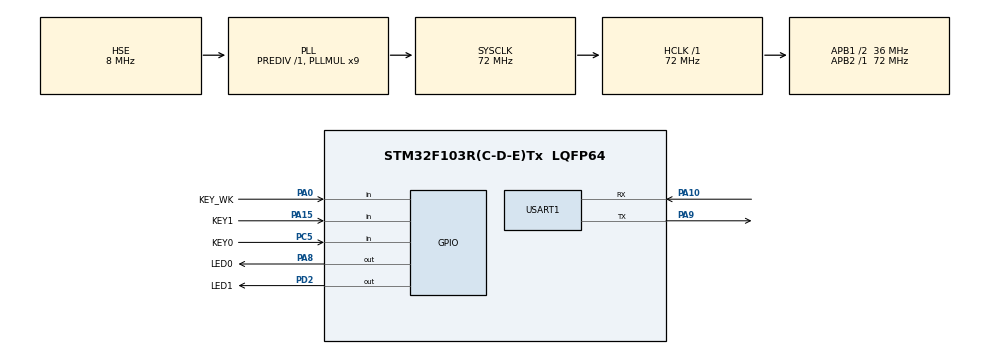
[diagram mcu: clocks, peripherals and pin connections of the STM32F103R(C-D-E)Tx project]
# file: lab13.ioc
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Mcu.Family=STM32F1
Mcu.Name=STM32F103R(C-D-E)Tx
Mcu.Package=LQFP64
NVIC.PriorityGroup=NVIC_PRIORITYGROUP_4
NVIC.USART1_IRQn=true\:0\:0\:false\:false\:true\:true\:true
PA0-WKUP.GPIO_Label=KEY_WK
PA0-WKUP.GPIO_Mode=GPIO_MODE_INPUT
PA0-WKUP.GPIO_PuPd=GPIO_PULLDOWN
PA0-WKUP.Signal=GPIO_Input
PA10.Mode=Asynchronous
PA10.Signal=USART1_RX
PA15.GPIO_Label=KEY1
PA15.GPIO_PuPd=GPIO_PULLUP
PA15.Signal=GPIO_Input
PA8.GPIO_Label=LED0
PA8.GPIO_PuPd=GPIO_PULLUP
PA8.GPIO_Speed=GPIO_SPEED_FREQ_HIGH
PA8.PinState=GPIO_PIN_SET
PA8.Signal=GPIO_Output
PA9.Mode=Asynchronous
PA9.Signal=USART1_TX
PC5.GPIO_Label=KEY0
PC5.GPIO_PuPd=GPIO_PULLUP
PC5.Signal=GPIO_Input
PD0-OSC_IN.Mode=HSE-External-Oscillator
PD0-OSC_IN.Signal=RCC_OSC_IN
PD1-OSC_OUT.Mode=HSE-External-Oscillator
PD1-OSC_OUT.Signal=RCC_OSC_OUT
PD2.GPIO_Label=LED1
PD2.GPIO_PuPd=GPIO_PULLUP
PD2.GPIO_Speed=GPIO_SPEED_FREQ_HIGH
PD2.PinState=GPIO_PIN_SET
PD2.Signal=GPIO_Output
ProjectManager.HeapSize=0x200
ProjectManager.StackSize=0x400
ProjectManager.TargetToolchain=STM32CubeIDE
RCC.AHBFreq_Value=72000000
RCC.APB1CLKDivider=RCC_HCLK_DIV2
RCC.APB1Freq_Value=36000000
RCC.APB1TimFreq_Value=72000000
RCC.APB2Freq_Value=72000000
RCC.APB2TimFreq_Value=72000000
RCC.HCLKFreq_Value=72000000
RCC.PLLMUL=RCC_PLL_MUL9
RCC.PLLSourceVirtual=RCC_PLLSOURCE_HSE
RCC.SYSCLKFreq_VALUE=72000000
RCC.SYSCLKSource=RCC_SYSCLKSOURCE_PLLCLK
RCC.USBFreq_Value=72000000
USART1.VirtualMode=VM_ASYNC
VP_SYS_VS_ND.Mode=No_Debug
board=custom

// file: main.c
/* USER CODE BEGIN Header */
/**
  ******************************************************************************
  * @file           : main.c
  * @brief          : Main program body
  ******************************************************************************
  * @attention
  *
  * <h2><center>&copy; Copyright (c) 2019 STMicroelectronics.
  * All rights reserved.</center></h2>
  *
  * This software component is licensed by ST under BSD 3-Clause license,
  * the "License"; You may not use this file except in compliance with the
  * License. You may obtain a copy of the License at:
  *                        opensource.org/licenses/BSD-3-Clause
  *
  ******************************************************************************
  */
/* USER CODE END Header */

#include "main.h"
#include <stdio.h>
#include <stdlib.h>
/* USER CODE BEGIN Includes */
#include "lcd.h"
/* USER CODE END Includes */

UART_HandleTypeDef huart1;

void SystemClock_Config(void);
static void MX_GPIO_Init(void);
static void MX_USART1_UART_Init(void);
/* USER CODE BEGIN PFP */
_Bool GetPress(GPIO_TypeDef *GPIOx, uint16_t GPIO_Pin, GPIO_PinState PinState);
void draw_model_1(int lor);
void draw_model_2(int lor);
void draw_model_3(int lor);
void draw_model_4(int lor);
void draw_model_5(int lor);
void draw_model_6(int lor);
void draw_model_7(int lor);
int judge(int x_1, int y_1, int x_2, int y_2);
static void showStatus(int levelNum, int scoreNum, int next_shape1, int next_shape2);
void fill_record(int x_1, int y_1, int x_2, int y_2, int color);
void draw(int shape, int  lor);

/* USER CODE END PFP */

int xoffset = 0;
int if_bottom = 0;
int arrays[16][10];
int temp_arr[16][10];
int rotation = 0;
int drop = 0;
int speed = 2;
int count_row = 0;
int main(void)
{

    /* MCU Configuration--------------------------------------------------------*/

    /* Reset of all peripherals, Initializes the Flash interface and the Systick. */
    HAL_Init();

    /* Configure the system clock */
    SystemClock_Config();

    /* USER CODE BEGIN SysInit */
    LCD_Init();
    /* USER CODE END SysInit */

    /* Initialize all configured peripherals */
    MX_GPIO_Init();
    MX_USART1_UART_Init();
    /* USER CODE BEGIN 2 */
    //  uint32_t y1 = 0;
    //  uint32_t y2 = 20;
    int initial = rand()% 7;
    int next_shape1 = rand()% 7;
    int next_shape2 = rand()% 7;
    int levelNum = 1;
    int scoreNum = 0;

    //  char yy[10];
    /* USER CODE END 2 */

    /* Infinite loop */
    /* USER CODE BEGIN WHILE */
    LCD_ShowString(205, 20, 30, 15, 12, "Next");
    LCD_ShowString(205, 180, 30, 15, 12, "Level");
    LCD_ShowString(205, 250, 30, 15, 12, "Score");
    LCD_Fill(201, 0, 203, 320, GRAY);
    char buffer[10];
    int count_model = 0;
    while (1)
    {
        int lor = 0;
        /* USER CODE END WHILE */
        /* USER CODE BEGIN 3 */

        BACK_COLOR = WHITE;

        // draw the status label
        scoreNum = count_row*3 + count_model;

        // 1 to 2
        if (scoreNum > 20 && levelNum == 1) {
        	speed = 4;
        	levelNum = 2;
        }

        // 2 to 3
        if (scoreNum > 50 && levelNum == 2) {
        	speed = 10;
        	levelNum = 3;
        }

        // hell
        if (scoreNum > 100 && levelNum == 3) {
        	speed = 10;
        	levelNum = 3;
        }
        showStatus(levelNum, scoreNum, next_shape1, next_shape2);

        draw( initial, lor);

        // right
        if (GetPress(KEY0_GPIO_Port, KEY0_Pin, GPIO_PIN_RESET) == 1)
        {
            HAL_GPIO_TogglePin(LED0_GPIO_Port, LED0_Pin);
            //RIGHT
            lor = 1;
            draw( initial, lor);
        }
        // rotate
        if (GetPress(KEY1_GPIO_Port, KEY1_Pin, GPIO_PIN_RESET) == 1)
        {
            HAL_GPIO_TogglePin(LED1_GPIO_Port, LED1_Pin);
            //left
            lor = 2;
            rotation += 1;
            draw( initial, lor);
        }

        // left
        if (GetPress(KEY_WK_GPIO_Port, KEY_WK_Pin, GPIO_PIN_SET) == 1)
        {
            HAL_GPIO_TogglePin(LED0_GPIO_Port, LED0_Pin);
            HAL_GPIO_TogglePin(LED1_GPIO_Port, LED1_Pin);
            lor = -1;
            draw( initial, lor);
        }

        HAL_Delay(40);

        // down
        if (if_bottom == 0)
        {
        	lor = 0;
        }

        // reach the bottom
        else
        {
        	if(check_over() == 0){
                check_array();
                draw_again();
                //到底之后，出现下一块
                if_bottom = 0;
                drop = 0;
                rotation = 0;
                xoffset = 0;
                count_model += 1;

                // randomly generate next shape
                initial = next_shape1;
                next_shape1 = next_shape2;
                next_shape2 = rand()% 7;
        	}else{
        		POINT_COLOR = RED;
        		LCD_ShowString(100, 160, 50, 40, 24, "Game over!!!!!!!!");
        		break;
        	}
            //到底之后，先遍历二维数组

        }
        /* USER CODE END 3 */
    }
}
int check_over(){
	for(int i = 0 ; i < 10 ; i++){
		if(arrays[0][i] != 0){
			return 1;
		}
	}
	return 0;
}
void draw_again(){
	for ( int i = 0 ;  i < 16 ; i++){
		for( int j = 0 ; j < 10 ; j++){
			int x1 = j * 20;
			int y1 = i *20;
			int x2 = j * 20  + 20;
			int y2 =  i *20 + 20;
			switch(arrays[i][j]){
				case 0 :
					LCD_Fill(x1 , y1 ,x2 ,y2 , WHITE);
					break;
				case 1 :
					LCD_Fill(x1 , y1 ,x2 ,y2 , YELLOW);
					break;

				case 2 :
					LCD_Fill(x1 , y1 ,x2 ,y2 , BLUE);
					break;

				case 3 :
					LCD_Fill(x1 , y1 ,x2 ,y2 , GREEN);
					break;

				case 4 :
					LCD_Fill(x1 , y1 ,x2 ,y2 , RED);
					break;

				case 5:
					LCD_Fill(x1 , y1 ,x2 ,y2 , CYAN);
					break;

				case 6 :
					LCD_Fill(x1 , y1 ,x2 ,y2 ,MAGENTA);
					break;

				case 7:
					LCD_Fill(x1 , y1 ,x2 ,y2 ,LIGHTBLUE);
					break;
			}
		}
	}
}

void draw(int shape, int  lor) {
	switch(shape) {
		case 0:
			draw_model_1(lor);
			break;
		case 1:
			draw_model_2(lor);
			break;
		case 2:
			draw_model_3(lor);
			break;
		case 3:
			draw_model_4(lor);
			break;
		case 4:
			draw_model_5(lor);
			break;
		case 5:
			draw_model_6(lor);
			break;
		case 6:
			draw_model_7(lor);
			break;
	}
}
int judge(int x_1, int y_1, int x_2, int y_2)
{
    if (x_2 > 200 || x_1 < 0 || y_1 < 0 || y_2 > 320)
    {
        return 0;
    }
    int x1 = x_1 / 20;
    int y1 = y_1 / 20;
    int x2 = x_2 / 20;
    int y2 = y_2 / 20;

    //如果刚好在在方格里
    if (y_2 % 20 == 0)
    {
        int i = 0;
        int j = 0;
        int f1 = 1;
        int f2 = 1;
        for (j = x1; j < x2; j++)
        {
            for (i = y1; i < y2; i++)
            {
                if (arrays[i][j] > 0)
                {
                    f1 = 0;
                }
            }
        }
        for (int i = x1; i < x2; i++)
        {
            if (arrays[i][y2] > 0)
            {
                f2 = 0;
            }
        }
        if (f1 == 1 && f2 == 1)
        {
            return 1;
        }
    }

    //如果不在在方格里
    else
    {
        int i = 0;
        int j = 0;

        y2 = y2 + 1;
        for (j = x1; j < x2; j++)
        {
            for (i = y1; i < y2; i++)
            {
                if (arrays[i][j] > 0)
                {
                    return 0;
                }
            }
        }
    }

    return 1;
}
void check_array(void)
{
    int i = 0;
    int j = 0;
    int temp_row = -1;

    for (i = 0; i < 16; i++)
    {
        int if_full = 1;
        for (j = 0; j < 10; j++)
        {

            if (arrays[i][j] == 0)
            {
                //  printf("%d\t",17);
                if_full = 0;
                break;
            }
        }
        if (if_full == 0)
        {
            //printf("%d\t",18);
            continue;
        }
        else
        {
        	count_row += 1;
            temp_row = i;
            printf("temp_row: %d\t", temp_row);

            int k = 0;
            int o = 0;
            for (k = 0; k < 16; k++)
            {
                for (o = 0; o < 10; o++)
                {
                    if (k <= temp_row)
                    {
                        if (k >= 1)
                        {
                            temp_arr[k][o] = arrays[k - 1][o];
                        }
                    }
                    else
                    {
                        temp_arr[k][o] = arrays[k][o];
                    }
                }
            }
            printf("test: %d\t", temp_arr[0][0]);
            k = 0;
            o = 0;
            for (k = 0; k < 16; k++)
            {
                for (o = 0; o < 10; o++)
                {
                    arrays[k][o] = temp_arr[k][o];
                }
            }
            //	 printArrays();
            // printf("\n");
            check_array();
        }
    }
    return 0;
}
void SystemClock_Config(void)
{
    RCC_OscInitTypeDef RCC_OscInitStruct = {0};
    RCC_ClkInitTypeDef RCC_ClkInitStruct = {0};

    /** Initializes the CPU, AHB and APB busses clocks
  */
    RCC_OscInitStruct.OscillatorType = RCC_OSCILLATORTYPE_HSE;
    RCC_OscInitStruct.HSEState = RCC_HSE_ON;
    RCC_OscInitStruct.HSEPredivValue = RCC_HSE_PREDIV_DIV1;
    RCC_OscInitStruct.HSIState = RCC_HSI_ON;
    RCC_OscInitStruct.PLL.PLLState = RCC_PLL_ON;
    RCC_OscInitStruct.PLL.PLLSource = RCC_PLLSOURCE_HSE;
    RCC_OscInitStruct.PLL.PLLMUL = RCC_PLL_MUL9;
    if (HAL_RCC_OscConfig(&RCC_OscInitStruct) != HAL_OK)
    {
        Error_Handler();
    }
    /** Initializes the CPU, AHB and APB busses clocks
  */
    RCC_ClkInitStruct.ClockType = RCC_CLOCKTYPE_HCLK | RCC_CLOCKTYPE_SYSCLK | RCC_CLOCKTYPE_PCLK1 | RCC_CLOCKTYPE_PCLK2;
    RCC_ClkInitStruct.SYSCLKSource = RCC_SYSCLKSOURCE_PLLCLK;
    RCC_ClkInitStruct.AHBCLKDivider = RCC_SYSCLK_DIV1;
    RCC_ClkInitStruct.APB1CLKDivider = RCC_HCLK_DIV2;
    RCC_ClkInitStruct.APB2CLKDivider = RCC_HCLK_DIV1;

    if (HAL_RCC_ClockConfig(&RCC_ClkInitStruct, FLASH_LATENCY_2) != HAL_OK)
    {
        Error_Handler();
    }
}

static void MX_USART1_UART_Init(void)
{

    huart1.Instance = USART1;
    huart1.Init.BaudRate = 115200;
    huart1.Init.WordLength = UART_WORDLENGTH_8B;
    huart1.Init.StopBits = UART_STOPBITS_1;
    huart1.Init.Parity = UART_PARITY_NONE;
    huart1.Init.Mode = UART_MODE_TX_RX;
    huart1.Init.HwFlowCtl = UART_HWCONTROL_NONE;
    huart1.Init.OverSampling = UART_OVERSAMPLING_16;
    if (HAL_UART_Init(&huart1) != HAL_OK)
    {
        Error_Handler();
    }
}

static void MX_GPIO_Init(void)
{
    GPIO_InitTypeDef GPIO_InitStruct = {0};

    /* GPIO Ports Clock Enable */
    __HAL_RCC_GPIOD_CLK_ENABLE();
    __HAL_RCC_GPIOA_CLK_ENABLE();
    __HAL_RCC_GPIOC_CLK_ENABLE();

    /*Configure GPIO pin Output Level */
    HAL_GPIO_WritePin(LED0_GPIO_Port, LED0_Pin, GPIO_PIN_SET);

    /*Configure GPIO pin Output Level */
    HAL_GPIO_WritePin(LED1_GPIO_Port, LED1_Pin, GPIO_PIN_SET);

    /*Configure GPIO pin : KEY_WK_Pin */
    GPIO_InitStruct.Pin = KEY_WK_Pin;
    GPIO_InitStruct.Mode = GPIO_MODE_INPUT;
    GPIO_InitStruct.Pull = GPIO_PULLDOWN;
    HAL_GPIO_Init(KEY_WK_GPIO_Port, &GPIO_InitStruct);

    /*Configure GPIO pin : KEY0_Pin */
    GPIO_InitStruct.Pin = KEY0_Pin;
    GPIO_InitStruct.Mode = GPIO_MODE_INPUT;
    GPIO_InitStruct.Pull = GPIO_PULLUP;
    HAL_GPIO_Init(KEY0_GPIO_Port, &GPIO_InitStruct);

    /*Configure GPIO pin : LED0_Pin */
    GPIO_InitStruct.Pin = LED0_Pin;
    GPIO_InitStruct.Mode = GPIO_MODE_OUTPUT_PP;
    GPIO_InitStruct.Pull = GPIO_PULLUP;
    GPIO_InitStruct.Speed = GPIO_SPEED_FREQ_HIGH;
    HAL_GPIO_Init(LED0_GPIO_Port, &GPIO_InitStruct);

    /*Configure GPIO pin : KEY1_Pin */
    GPIO_InitStruct.Pin = KEY1_Pin;
    GPIO_InitStruct.Mode = GPIO_MODE_INPUT;
    GPIO_InitStruct.Pull = GPIO_PULLUP;
    HAL_GPIO_Init(KEY1_GPIO_Port, &GPIO_InitStruct);

    /*Configure GPIO pin : LED1_Pin */
    GPIO_InitStruct.Pin = LED1_Pin;
    GPIO_InitStruct.Mode = GPIO_MODE_OUTPUT_PP;
    GPIO_InitStruct.Pull = GPIO_PULLUP;
    GPIO_InitStruct.Speed = GPIO_SPEED_FREQ_HIGH;
    HAL_GPIO_Init(LED1_GPIO_Port, &GPIO_InitStruct);
}

/* USER CODE BEGIN 4 */
static void showStatus(int levelNum, int scoreNum, int next_shape1, int next_shape2)
{

    char levelMsg[5];
    char scoreMsg[5];
    //char shapeLable[5] = "Next";
    // char levelLable[6] = "Level";
    //  char scoreLable[6] = "Score";
    // draw the status bar

    // draw the strings in the status bar

    // draw the number of levels and scores
    sprintf(levelMsg, "%d", levelNum);
    sprintf(scoreMsg, "%d", scoreNum);
    LCD_ShowString(205, 210, 15, 15, 12, levelMsg);
    LCD_ShowString(205, 280, 15, 15, 12, scoreMsg);
    LCD_Fill(204,70,240,160,WHITE);
    switch (next_shape1)
    {
    /*
  ... ... ... ...
  ... ... ... ...

  */
    case 0:
        LCD_Fill(205, 75, 235, 85, YELLOW);
        break;

    /*
  ... ...
  ... ...
  ... ...
  ... ...

  */
    case 1:
        LCD_Fill(210, 70, 230, 90,BLUE );
        break;

    /*
  ... ...
  ... ...
      ... ...
      ... ...

  */
    case 2:
        LCD_Fill(205, 70, 225, 80, GREEN);
        LCD_Fill(215, 80, 235, 90, GREEN);
        break;

    /*
      ... ...
      ... ...
  ... ...
  ... ...

  */
    case 3:
        LCD_Fill(215, 70, 235, 80, RED);
        LCD_Fill(205, 80, 225, 90, RED);
        break;

    /*
  ...
  ...
  ... ... ...
  ... ... ...

  */
    case 4:
        LCD_Fill(205, 70, 215, 80, CYAN);
        LCD_Fill(205, 80, 235, 90, CYAN);
        break;

    /*
          ...
          ...
  ... ... ...
  ... ... ...

  */
    case 5:
        LCD_Fill(225, 70, 235, 80, MAGENTA);
        LCD_Fill(205, 80, 235, 90, MAGENTA);
        break;

    /*
      ...
      ...
  ... ... ...
  ... ... ...

  */
    case 6:
        LCD_Fill(205+10, 70, 215+10, 80, LIGHTBLUE);
        LCD_Fill(195+10, 80, 225+10, 90, LIGHTBLUE);
        break;
    }

    // draw the shapes of the coming nodes 2 center:(220, 120)
    int distance = 40;
    switch (next_shape2)
    {
    /*
  ... ... ... ...
  ... ... ... ...

  */
    case 0:
        LCD_Fill(205, 75 + distance, 235, 85 + distance, YELLOW);
        break;

    /*
  ... ...
  ... ...
  ... ...
  ... ...

  */
    case 1:
        LCD_Fill(210, 70 + distance, 230, 90 + distance,BLUE);
        break;

    /*
  ... ...
  ... ...
      ... ...
      ... ...

  */
    case 2:
        LCD_Fill(205, 70 + distance, 225, 80 + distance, GREEN);
        LCD_Fill(215, 80 + distance, 235, 90 + distance, GREEN);
        break;

    /*
      ... ...
      ... ...
  ... ...
  ... ...

  */
    case 3:
        LCD_Fill(215, 70 + distance, 235, 80 + distance, RED);
        LCD_Fill(205, 80 + distance, 225, 90 + distance, RED);
        break;

    /*
  ...
  ...
  ... ... ...
  ... ... ...

  */
    case 4:
        LCD_Fill(205, 70 + distance, 215, 80 + distance,CYAN);
        LCD_Fill(205, 80 + distance, 235, 90 + distance, CYAN);
        break;

    /*
          ...
          ...
  ... ... ...
  ... ... ...

  */
    case 5:
        LCD_Fill(225, 70 + distance, 235, 80 + distance, MAGENTA);
        LCD_Fill(205, 80 + distance, 235, 90 + distance, MAGENTA);
        break;

    /*
      ...
      ...
  ... ... ...
  ... ... ...

  */
    case 6:
        LCD_Fill(205+10, 70 + distance, 215+10, 80 + distance, LIGHTBLUE);
        LCD_Fill(195+10, 80 + distance, 225+10, 90 + distance, LIGHTBLUE);
        break;
    }
}

_Bool GetPress(GPIO_TypeDef *GPIOx, uint16_t GPIO_Pin, GPIO_PinState PinState)
{
    if (HAL_GPIO_ReadPin(GPIOx, GPIO_Pin) == PinState)
    {
        HAL_Delay(10);
        if (HAL_GPIO_ReadPin(GPIOx, GPIO_Pin) == PinState)
        {
            while (HAL_GPIO_ReadPin(GPIOx, GPIO_Pin) == PinState)
            {
                ;
            }
            return 1;
        }
        else
            return 0;
    }
    else
        return 0;
}

///// SEVEN MODES
void draw_model_1(int lor)
{

    int x1 = 0;
    int y1 = 0;
    int x2 = 0;
    int y2 = 0;

    // last state
    if (rotation % 2 == 0)
    {
        x1 = 60 + xoffset;
        y1 = 0 + drop;
        x2 = 140 + xoffset;
        y2 = 20 + drop;
    }
    else
    {
        x1 = 100 + xoffset;
        y1 = 0 + drop;
        x2 = 120 + xoffset;
        y2 = 80 + drop;
    }

    // erase the previous state

    // judge the next state

    // judge left
    if (lor == -1) {
		if(judge(x1-20, y1, x2-20, y2) == 1) {
			xoffset -= 20;
		}else{

		}
    }
    // judge right
     if (lor == 1) {
		if(judge(x1+20, y1, x2+20, y2) == 1) {
			xoffset += 20;
		}else{

		}
    }
    // judge drop
    if (lor == 0) {
    	// if next state is legal
    	if (judge(x1, y1+speed, x2, y2+speed) == 1) {
    		drop += speed;
    	// if next state is illegal
    	}else{

    		if_bottom = 1;
    		fill_record(x1, y1, x2, y2,1);
    	//	LCD_Fill(x1,y1,x2,y2,YELLOW);
    	//	return ;
    	}
    }
   // judge rotate
    if (lor == 2) {
    	//LCD_Fill(x1, y1-speed, x2, y2-speed, WHITE);

    	int last = rotation - 1;

    	if (last % 2 == 0)
    	{
    		LCD_Fill(60 + xoffset, 0 + drop, 140 + xoffset, 20 + drop, WHITE);
    	}

    	else
    	{
    		LCD_Fill(100 + xoffset, 0 + drop, 120 + xoffset, 80 + drop, WHITE);
    	}

    	if (judge(x1,y1,x2,y2) == 0) {
    		rotation -= 1;
    	}
    }

   // update the next state
	if (rotation % 2 == 0)
	  {
		  x1 = 60 + xoffset;
		  y1 = 0 + drop;
		  x2 = 140 + xoffset;
		  y2 = 20 + drop;
		 }
	 else
	 {
		  x1 = 100 + xoffset;
		  y1 = 0 + drop;
		  x2 = 120 + xoffset;
		  y2 = 80 + drop;
	 }

	// draw the block
	if (if_bottom == 0) {
		if ( lor == -1 && judge(x1, y1, x2, y2) == 1) {
			LCD_Fill(x1+20, y1, x2+20, y2, WHITE);
		} else
		if (lor == 1 && judge(x1, y1, x2, y2) == 1) {
			LCD_Fill(x1-20, y1, x2-20, y2, WHITE);
		}else if (lor == 0) {
			LCD_Fill(x1, y1-speed, x2, y2-speed, WHITE);
		}

		LCD_Fill(x1, y1, x2, y2, YELLOW);
	}
}
void draw_model_2(int lor)
{

    int x1 = 0;
    int y1 = 0;
    int x2 = 0;
    int y2 = 0;

    // last state
    if (rotation % 2 == 0)
    {
    	 x1 = 80 + xoffset;
		y1 = 0 + drop;
		x2 = 120 + xoffset;
		y2 = 40 + drop;
    }
    else
    {
        x1 = 80 + xoffset;
        y1 = 0 + drop;
        x2 = 120 + xoffset;
        y2 = 40 + drop;
    }

    // erase the previous state

    // judge the next state

    // judge left
    if (lor == -1) {
		if(judge(x1-20, y1, x2-20, y2) == 1) {
			xoffset -= 20;
		}else{

		}
    }
    // judge right
     if (lor == 1) {
		if(judge(x1+20, y1, x2+20, y2) == 1) {
			xoffset += 20;
		}else{

		}
    }
    // judge drop
    if (lor == 0) {
    	// if next state is legal
    	if (judge(x1, y1+speed, x2, y2+speed) == 1) {
    		drop += speed;
    	// if next state is illegal
    	}else{

    		if_bottom = 1;
    		fill_record(x1, y1, x2, y2,2);
    	//	LCD_Fill(x1,y1,x2,y2,YELLOW);
    	//	return ;
    	}
    }
   // judge rotate
    if (lor == 2) {
    	//LCD_Fill(x1, y1-speed, x2, y2-speed, WHITE);

    	int last = rotation - 1;

    	if (last % 2 == 0)
    	{
    		LCD_Fill(60 + xoffset, 20 + drop, 140 + xoffset, 40 + drop, WHITE);
    	}

    	else
    	{
    		LCD_Fill(100 + xoffset, 0 + drop, 120 + xoffset, 80 + drop, WHITE);
    	}

    	if (judge(x1,y1,x2,y2) == 0) {
    		rotation -= 1;
    	}
    }

   // update the next state
	if (rotation % 2 == 0)
	  {
		 x1 = 80 + xoffset;
		        y1 = 0 + drop;
		        x2 = 120 + xoffset;
		        y2 = 40 + drop;
		 }
	 else
	 {
		 x1 = 80 + xoffset;
		        y1 = 0 + drop;
		        x2 = 120 + xoffset;
		        y2 = 40 + drop;
	 }

	// draw the block
	if (if_bottom == 0) {
		if ( lor == -1 && judge(x1, y1, x2, y2) == 1) {
			LCD_Fill(x1+20, y1, x2+20, y2, WHITE);
		} else
		if (lor == 1 && judge(x1, y1, x2, y2) == 1) {
			LCD_Fill(x1-20, y1, x2-20, y2, WHITE);
		}else if (lor == 0) {
			LCD_Fill(x1, y1-speed, x2, y2-speed, WHITE);
		}

		LCD_Fill(x1, y1, x2, y2, BLUE);
	}
}
void draw_model_3(int lor)
{

    int x1 = 0;
    int y1 = 0;
    int x2 = 0;
    int y2 = 0;
    int x3 = 0;
    int y3 = 0;
    int x4 = 0;
    int y4 = 0;
    // last state
    if (rotation % 2 == 0)
    {
        x1 = 80 + xoffset;
        y1 = 0 + drop;
        x2 = 120 + xoffset;
        y2 = 20 + drop;
        x3 = 100 + xoffset;
		y3 = 20 + drop;
		x4 = 140 + xoffset;
		y4 = 40 + drop;
    }
    else
    {
        x1 = 100 + xoffset;
        y1 = 20 + drop;
        x2 = 120 + xoffset;
        y2 = 60 + drop;
        x3 = 120 + xoffset;
		y3 = 0 + drop;
		x4 = 140 + xoffset;
		y4 = 40 + drop;
    }

    // erase the previous state

    // judge the next state

    // judge left
    if (lor == -1) {
		if(judge(x1-20, y1, x2-20, y2) == 1 && judge(x3-20, y3, x4-20, y4) == 1) {
			xoffset -= 20;
		}else{

		}
    }
    // judge right
     if (lor == 1) {
		if(judge(x1+20, y1, x2+20, y2) == 1 && judge(x3+20, y3, x4 +20, y4) == 1) {
			xoffset += 20;
		}else{

		}
    }
    // judge drop
    if (lor == 0) {
    	// if next state is legal
    	if (judge(x1, y1+speed, x2, y2+speed) == 1 && judge(x3, y3+speed, x4, y4+speed) == 1) {
    		drop += speed;
    	// if next state is illegal
    	}else{

    		if_bottom = 1;
    		fill_record(x1, y1, x2, y2,3);
    		fill_record(x3, y3, x4, y4,3);
    	//	LCD_Fill(x1,y1,x2,y2,YELLOW);
    	//	return ;
    	}
    }
   // judge rotate
    if (lor == 2) {
    	//LCD_Fill(x1, y1-speed, x2, y2-speed, WHITE);

    	int last = rotation - 1;

    	if (last % 2 == 0)
    	{
    		LCD_Fill(80 + xoffset, 0 + drop, 120 + xoffset, 20 + drop, WHITE);
    		LCD_Fill(100 + xoffset, 20 + drop, 140 + xoffset, 40 + drop, WHITE);
    	}

    	else
    	{
    		LCD_Fill(100 + xoffset, 20 + drop, 120 + xoffset, 60 + drop, WHITE);
    		LCD_Fill(120 + xoffset, 0 + drop, 140 + xoffset, 40 + drop, WHITE);
    	}

    	if (judge(x1,y1,x2,y2) == 0 || judge(x3,y3,x4,y4) == 0 ) {
    		rotation -= 1;
    	}
    }

   // update the next state
    if (rotation % 2 == 0)
    {
        x1 = 80 + xoffset;
        y1 = 0 + drop;
        x2 = 120 + xoffset;
        y2 = 20 + drop;
        x3 = 100 + xoffset;
		y3 = 20 + drop;
		x4 = 140 + xoffset;
		y4 = 40 + drop;
    }
    else
    {
        x1 = 100 + xoffset;
        y1 = 20 + drop;
        x2 = 120 + xoffset;
        y2 = 60 + drop;
        x3 = 120 + xoffset;
		y3 = 0 + drop;
		x4 = 140 + xoffset;
		y4 = 40 + drop;
    }

	// draw the block
	if (if_bottom == 0) {
		if ( lor == -1 && judge(x1,y1,x2,y2) == 1 && judge(x3,y3,x4,y4) == 1 ) {
			LCD_Fill(x1+20, y1, x2+20, y2, WHITE);
			LCD_Fill(x3+20, y3, x4+20, y4, WHITE);
		} else
		if (lor == 1 && judge(x1,y1,x2,y2) == 1 && judge(x3,y3,x4,y4) == 1) {
			LCD_Fill(x1-20, y1, x2-20, y2, WHITE);
			LCD_Fill(x3-20, y3, x4-20, y4, WHITE);
		}else if (lor == 0) {
			LCD_Fill(x1, y1-speed, x2, y2-speed, WHITE);
			LCD_Fill(x3, y3-speed, x4, y4-speed, WHITE);
		}

		LCD_Fill(x1, y1, x2, y2, GREEN);
		LCD_Fill(x3, y3, x4, y4, GREEN);
	}
}

void draw_model_4(int lor)
{

    int x1 = 0;
    int y1 = 0;
    int x2 = 0;
    int y2 = 0;
    int x3 = 0;
    int y3 = 0;
    int x4 = 0;
    int y4 = 0;
    // last state
    if (rotation % 2 == 0)
    {
        x1 = 100 + xoffset;
        y1 = 0 + drop;
        x2 = 140 + xoffset;
        y2 = 20 + drop;
        x3 = 80 + xoffset;
		y3 = 20 + drop;
		x4 = 120 + xoffset;
		y4 = 40 + drop;
    }
    else
    {
        x1 = 80 + xoffset;
        y1 = 0 + drop;
        x2 = 100 + xoffset;
        y2 = 40 + drop;
        x3 = 100 + xoffset;
		y3 = 20 + drop;
		x4 = 120 + xoffset;
		y4 = 60 + drop;
    }

    // erase the previous state

    // judge the next state

    // judge left
    if (lor == -1) {
		if(judge(x1-20, y1, x2-20, y2) == 1 && judge(x3-20, y3, x4-20, y4) == 1) {
			xoffset -= 20;
		}else{

		}
    }
    // judge right
     if (lor == 1) {
		if(judge(x1+20, y1, x2+20, y2) == 1 && judge(x3+20, y3, x4 +20, y4) == 1) {
			xoffset += 20;
		}else{

		}
    }
    // judge drop
    if (lor == 0) {
    	// if next state is legal
    	if (judge(x1, y1+speed, x2, y2+speed) == 1 && judge(x3, y3+speed, x4, y4+speed) == 1) {
    		drop += speed;
    	// if next state is illegal
    	}else{

    		if_bottom = 1;
    		fill_record(x1, y1, x2, y2,4);
    		fill_record(x3, y3, x4, y4,4);
    	//	LCD_Fill(x1,y1,x2,y2,YELLOW);
    	//	return ;
    	}
    }
   // judge rotate
    if (lor == 2) {
    	//LCD_Fill(x1, y1-speed, x2, y2-speed, WHITE);

    	int last = rotation - 1;

    	if (last % 2 == 0)
    	{
    		LCD_Fill(100 + xoffset, 0 + drop, 140 + xoffset, 20 + drop, WHITE);
    		LCD_Fill(80 + xoffset, 20 + drop, 120 + xoffset, 40 + drop, WHITE);
    	}

    	else
    	{
    		LCD_Fill(80 + xoffset, 0 + drop, 100 + xoffset, 40 + drop, WHITE);
    		LCD_Fill(100 + xoffset, 20 + drop, 120 + xoffset, 60 + drop, WHITE);
    	}

    	if (judge(x1,y1,x2,y2) == 0 || judge(x3,y3,x4,y4) == 0 ) {
    		rotation -= 1;
    	}
    }

   // update the next state
    if (rotation % 2 == 0)
    {
        x1 = 100 + xoffset;
        y1 = 0 + drop;
        x2 = 140 + xoffset;
        y2 = 20 + drop;
        x3 = 80 + xoffset;
		y3 = 20 + drop;
		x4 = 120 + xoffset;
		y4 = 40 + drop;
    }
    else
    {
        x1 = 80 + xoffset;
        y1 = 0 + drop;
        x2 = 100 + xoffset;
        y2 = 40 + drop;
        x3 = 100 + xoffset;
		y3 = 20 + drop;
		x4 = 120 + xoffset;
		y4 = 60 + drop;
    }
	// draw the block
	if (if_bottom == 0) {
		if ( lor == -1 && judge(x1,y1,x2,y2) == 1 && judge(x3,y3,x4,y4) == 1 ) {
			LCD_Fill(x1+20, y1, x2+20, y2, WHITE);
			LCD_Fill(x3+20, y3, x4+20, y4, WHITE);
		} else
		if (lor == 1 && judge(x1,y1,x2,y2) == 1 && judge(x3,y3,x4,y4) == 1) {
			LCD_Fill(x1-20, y1, x2-20, y2, WHITE);
			LCD_Fill(x3-20, y3, x4-20, y4, WHITE);
		}else if (lor == 0) {
			LCD_Fill(x1, y1-speed, x2, y2-speed, WHITE);
			LCD_Fill(x3, y3-speed, x4, y4-speed, WHITE);
		}

		LCD_Fill(x1, y1, x2, y2, RED);
		LCD_Fill(x3, y3, x4, y4, RED);
	}
}
void draw_model_5(int lor)
{

    int x1 = 0;
    int y1 = 0;
    int x2 = 0;
    int y2 = 0;
    int x3 = 0;
    int y3 = 0;
    int x4 = 0;
    int y4 = 0;
    // last state
    if (rotation % 4 == 0)
    {
        x1 = 80 + xoffset;
        y1 = 0 + drop;
        x2 = 100 + xoffset;
        y2 = 20 + drop;
        x3 = 80 + xoffset;
		y3 = 20 + drop;
		x4 = 140 + xoffset;
		y4 = 40 + drop;
    }
    else if(rotation % 4 == 1)
    {
        x1 = 100 + xoffset;
        y1 = 0 + drop;
        x2 = 120 + xoffset;
        y2 = 20 + drop;
        x3 = 80+ xoffset;
		y3 = 0 + drop;
		x4 = 100 + xoffset;
		y4 = 60 + drop;
    }
    else if(rotation % 4 == 2)
    {
        x1 = 80 + xoffset;
        y1 = 0 + drop;
        x2 = 140 + xoffset;
        y2 = 20 + drop;
        x3 = 120 + xoffset;
		y3 = 20 + drop;
		x4 = 140 + xoffset;
		y4 = 40 + drop;
    }
    else
    {
        x1 = 80 + xoffset;
        y1 = 40 + drop;
        x2 = 100 + xoffset;
        y2 = 60 + drop;
        x3 = 100 + xoffset;
		y3 = 0 + drop;
		x4 = 120 + xoffset;
		y4 = 60 + drop;
    }

    // erase the previous state

    // judge the next state

    // judge left
    if (lor == -1) {
		if(judge(x1-20, y1, x2-20, y2) == 1 && judge(x3-20, y3, x4-20, y4) == 1) {
			xoffset -= 20;
		}else{

		}
    }
    // judge right
     if (lor == 1) {
		if(judge(x1+20, y1, x2+20, y2) == 1 && judge(x3+20, y3, x4 +20, y4) == 1) {
			xoffset += 20;
		}else{

		}
    }
    // judge drop
    if (lor == 0) {
    	// if next state is legal
    	if (judge(x1, y1+speed, x2, y2+speed) == 1 && judge(x3, y3+speed, x4, y4+speed) == 1) {
    		drop += speed;
    	// if next state is illegal
    	}else{

    		if_bottom = 1;
    		fill_record(x1, y1, x2, y2,5);
    		fill_record(x3, y3, x4, y4,5);
    	//	LCD_Fill(x1,y1,x2,y2,YELLOW);
    	//	return ;
    	}
    }
   // judge rotate
    if (lor == 2) {
    	//LCD_Fill(x1, y1-speed, x2, y2-speed, WHITE);

    	int last = rotation - 1;

    	if (last % 4 == 0)
    	{
    		LCD_Fill(80 + xoffset, 0 + drop, 100 + xoffset, 20 + drop, WHITE);
    		LCD_Fill(80 + xoffset, 20 + drop, 140 + xoffset, 40 + drop, WHITE);
    	}

    	else if(last% 4 == 1)
    	{
    		LCD_Fill(100 + xoffset, 0 + drop, 120 + xoffset, 20 + drop, WHITE);
    		LCD_Fill(80 + xoffset, 0 + drop, 100 + xoffset, 60 + drop, WHITE);
    	}
    	else if(last% 4 == 2){
    		LCD_Fill(80 + xoffset, 0 + drop, 140 + xoffset, 20 + drop, WHITE);
    		LCD_Fill(120 + xoffset, 20 + drop, 140 + xoffset, 40 + drop, WHITE);
    	}
    	else{
    		LCD_Fill(80 + xoffset, 40 + drop, 100 + xoffset, 60 + drop, WHITE);
    		LCD_Fill(100 + xoffset, 0 + drop, 120 + xoffset, 60 + drop, WHITE);
    	}

    	if (judge(x1,y1,x2,y2) == 0 || judge(x3,y3,x4,y4) == 0 ) {
    		rotation -= 1;
    	}
    }

   // update the next state
    if (rotation % 4 == 0)
    {
        x1 = 80 + xoffset;
        y1 = 0 + drop;
        x2 = 100 + xoffset;
        y2 = 20 + drop;
        x3 = 80 + xoffset;
		y3 = 20 + drop;
		x4 = 140 + xoffset;
		y4 = 40 + drop;
    }
    else if(rotation % 4 == 1)
    {
        x1 = 100 + xoffset;
        y1 = 0 + drop;
        x2 = 120 + xoffset;
        y2 = 20 + drop;
        x3 = 80+ xoffset;
		y3 = 0 + drop;
		x4 = 100 + xoffset;
		y4 = 60 + drop;
    }
    else if(rotation % 4 == 2)
    {
        x1 = 80 + xoffset;
        y1 = 0 + drop;
        x2 = 140 + xoffset;
        y2 = 20 + drop;
        x3 = 120 + xoffset;
		y3 = 20 + drop;
		x4 = 140 + xoffset;
		y4 = 40 + drop;
    }
    else
    {
        x1 = 80 + xoffset;
        y1 = 40 + drop;
        x2 = 100 + xoffset;
        y2 = 60 + drop;
        x3 = 100 + xoffset;
		y3 = 0 + drop;
		x4 = 120 + xoffset;
		y4 = 60 + drop;
    }

	// draw the block
	if (if_bottom == 0) {
		if ( lor == -1 && judge(x1,y1,x2,y2) == 1 && judge(x3,y3,x4,y4) == 1 ) {
			LCD_Fill(x1+20, y1, x2+20, y2, WHITE);
			LCD_Fill(x3+20, y3, x4+20, y4, WHITE);
		} else
		if (lor == 1 && judge(x1,y1,x2,y2) == 1 && judge(x3,y3,x4,y4) == 1) {
			LCD_Fill(x1-20, y1, x2-20, y2, WHITE);
			LCD_Fill(x3-20, y3, x4-20, y4, WHITE);
		}else if (lor == 0) {
			LCD_Fill(x1, y1-speed, x2, y2-speed, WHITE);
			LCD_Fill(x3, y3-speed, x4, y4-speed, WHITE);
		}

		LCD_Fill(x1, y1, x2, y2, CYAN);
		LCD_Fill(x3, y3, x4, y4, CYAN);
	}
}

void draw_model_6(int lor)
{

    int x1 = 0;
    int y1 = 0;
    int x2 = 0;
    int y2 = 0;
    int x3 = 0;
    int y3 = 0;
    int x4 = 0;
    int y4 = 0;
    // last state
    if (rotation % 4 == 0)
    {
        x1 = 120 + xoffset;
        y1 = 0 + drop;
        x2 = 140 + xoffset;
        y2 = 20 + drop;
        x3 = 80 + xoffset;
        y3 = 20 + drop;
        x4 = 140 + xoffset;
        y4 = 40 + drop;
    }
    else if (rotation % 4 == 1)
    {

        x1 = 80 + xoffset;
        y1 = 0 + drop;
        x2 = 100 + xoffset;
        y2 = 60 + drop;
        x3 = 100 + xoffset;
        y3 = 40 + drop;
        x4 = 120 + xoffset;
        y4 = 60 + drop;
    }
    else if (rotation % 4 == 2)
    {

        x1 = 80 + xoffset;
        y1 = 0 + drop;
        x2 = 140 + xoffset;
        y2 = 20 + drop;
        x3 = 80 + xoffset;
        y3 = 20 + drop;
        x4 = 100 + xoffset;
        y4 = 40 + drop;
    }
    else if (rotation % 4 == 3)
    {

        x1 = 80 + xoffset;
        y1 = 0 + drop;
        x2 = 100 + xoffset;
        y2 = 20 + drop;
        x3 = 100 + xoffset;
        y3 = 0 + drop;
        x4 = 120 + xoffset;
        y4 = 60 + drop;
    }

    // erase the previous state

    // judge the next state

    // judge left
    if (lor == -1) {
		if(judge(x1-20, y1, x2-20, y2) == 1 && judge(x3-20, y3, x4-20, y4) == 1) {
			xoffset -= 20;
		}else{

		}
    }
    // judge right
     if (lor == 1) {
		if(judge(x1+20, y1, x2+20, y2) == 1 && judge(x3+20, y3, x4 +20, y4) == 1) {
			xoffset += 20;
		}else{

		}
    }
    // judge drop
    if (lor == 0) {
    	// if next state is legal
    	if (judge(x1, y1+speed, x2, y2+speed) == 1 && judge(x3, y3+speed, x4, y4+speed) == 1) {
    		drop += speed;
    	// if next state is illegal
    	}else{

    		if_bottom = 1;
    		fill_record(x1, y1, x2, y2,6);
    		fill_record(x3, y3, x4, y4,6);
    	//	LCD_Fill(x1,y1,x2,y2,YELLOW);
    	//	return ;
    	}
    }
   // judge rotate
    if (lor == 2) {
    	//LCD_Fill(x1, y1-speed, x2, y2-speed, WHITE);

    	int last = rotation - 1;

    	if (last % 4 == 0)
    	{
    		LCD_Fill(120 + xoffset, 0 + drop, 140 + xoffset, 20 + drop, WHITE);
    		LCD_Fill(80 + xoffset, 20 + drop, 140 + xoffset, 40 + drop, WHITE);
    	}

    	else if(last% 4 == 1)
    	{
    		LCD_Fill(80 + xoffset, 0 + drop, 100 + xoffset, 60 + drop, WHITE);
    		LCD_Fill(100 + xoffset, 40 + drop, 120 + xoffset, 60 + drop, WHITE);
    	}
    	else if(last% 4 == 2){
    		LCD_Fill(80 + xoffset, 0 + drop, 140 + xoffset, 20 + drop, WHITE);
    		LCD_Fill(80 + xoffset, 20 + drop, 100 + xoffset, 40 + drop, WHITE);
    	}
    	else{
    		LCD_Fill(80 + xoffset, 0 + drop, 100 + xoffset, 20 + drop, WHITE);
    		LCD_Fill(100 + xoffset, 0 + drop, 120 + xoffset, 60 + drop, WHITE);
    	}

    	if (judge(x1,y1,x2,y2) == 0 || judge(x3,y3,x4,y4) == 0 ) {
    		rotation -= 1;
    	}
    }

    // last state
    if (rotation % 4 == 0)
    {
        x1 = 120 + xoffset;
        y1 = 0 + drop;
        x2 = 140 + xoffset;
        y2 = 20 + drop;
        x3 = 80 + xoffset;
        y3 = 20 + drop;
        x4 = 140 + xoffset;
        y4 = 40 + drop;
    }
    else if (rotation % 4 == 1)
    {

        x1 = 80 + xoffset;
        y1 = 0 + drop;
        x2 = 100 + xoffset;
        y2 = 60 + drop;
        x3 = 100 + xoffset;
        y3 = 40 + drop;
        x4 = 120 + xoffset;
        y4 = 60 + drop;
    }
    else if (rotation % 4 == 2)
    {

        x1 = 80 + xoffset;
        y1 = 0 + drop;
        x2 = 140 + xoffset;
        y2 = 20 + drop;
        x3 = 80 + xoffset;
        y3 = 20 + drop;
        x4 = 100 + xoffset;
        y4 = 40 + drop;
    }
    else if (rotation % 4 == 3)
    {

        x1 = 80 + xoffset;
        y1 = 0 + drop;
        x2 = 100 + xoffset;
        y2 = 20 + drop;
        x3 = 100 + xoffset;
        y3 = 0 + drop;
        x4 = 120 + xoffset;
        y4 = 60 + drop;
    }

	// draw the block
	if (if_bottom == 0) {
		if ( lor == -1 && judge(x1,y1,x2,y2) == 1 && judge(x3,y3,x4,y4) == 1 ) {
			LCD_Fill(x1+20, y1, x2+20, y2, WHITE);
			LCD_Fill(x3+20, y3, x4+20, y4, WHITE);
		} else
		if (lor == 1 && judge(x1,y1,x2,y2) == 1 && judge(x3,y3,x4,y4) == 1) {
			LCD_Fill(x1-20, y1, x2-20, y2, WHITE);
			LCD_Fill(x3-20, y3, x4-20, y4, WHITE);
		}else if (lor == 0) {
			LCD_Fill(x1, y1-speed, x2, y2-speed, WHITE);
			LCD_Fill(x3, y3-speed, x4, y4-speed, WHITE);
		}

		LCD_Fill(x1, y1, x2, y2, MAGENTA);
		LCD_Fill(x3, y3, x4, y4, MAGENTA);
	}
}

void draw_model_7(int lor)
{

    int x1 = 0;
    int y1 = 0;
    int x2 = 0;
    int y2 = 0;
    int x3 = 0;
    int y3 = 0;
    int x4 = 0;
    int y4 = 0;
    // last state
    if (rotation % 4 == 0)
   {
	   x1 = 100 + xoffset;
	   y1 = 0 + drop;
	   x2 = 120 + xoffset;
	   y2 = 20 + drop;
	   x3 = 80 + xoffset;
	   y3 = 20 + drop;
	   x4 = 140 + xoffset;
	   y4 = 40 + drop;
   }
   else if (rotation % 4 == 1)
   {

	   x1 = 80 + xoffset;
	   y1 = 0 + drop;
	   x2 = 100 + xoffset;
	   y2 = 60 + drop;
	   x3 = 100 + xoffset;
	   y3 = 20 + drop;
	   x4 = 120 + xoffset;
	   y4 = 40 + drop;
   }
   else if (rotation % 4 == 2)
   {

	   x1 = 80 + xoffset;
	   y1 = 0 + drop;
	   x2 = 140 + xoffset;
	   y2 = 20 + drop;
	   x3 = 100 + xoffset;
	   y3 = 20 + drop;
	   x4 = 120 + xoffset;
	   y4 = 40 + drop;
   }
   else if (rotation % 4 == 3)
   {
	   x1 = 80 + xoffset;
	   y1 = 20 + drop;
	   x2 = 100 + xoffset;
	   y2 = 40 + drop;
	   x3 = 100 + xoffset;
	   y3 = 0 + drop;
	   x4 = 120 + xoffset;
	   y4 = 60 + drop;
   }

    // erase the previous state

    // judge the next state

    // judge left
    if (lor == -1) {
		if(judge(x1-20, y1, x2-20, y2) == 1 && judge(x3-20, y3, x4-20, y4) == 1) {
			xoffset -= 20;
		}else{

		}
    }
    // judge right
     if (lor == 1) {
		if(judge(x1+20, y1, x2+20, y2) == 1 && judge(x3+20, y3, x4 +20, y4) == 1) {
			xoffset += 20;
		}else{

		}
    }
    // judge drop
    if (lor == 0) {
    	// if next state is legal
    	if (judge(x1, y1+speed, x2, y2+speed) == 1 && judge(x3, y3+speed, x4, y4+speed) == 1) {
    		drop += speed;
    	// if next state is illegal
    	}else{

    		if_bottom = 1;
    		fill_record(x1, y1, x2, y2,7);
    		fill_record(x3, y3, x4, y4,7);
    	//	LCD_Fill(x1,y1,x2,y2,YELLOW);
    	//	return ;
    	}
    }
   // judge rotate
    if (lor == 2) {
    	//LCD_Fill(x1, y1-speed, x2, y2-speed, WHITE);

    	int last = rotation - 1;

    	if (last % 4 == 0)
    	{
    		LCD_Fill(100 + xoffset, 0 + drop, 120 + xoffset, 20 + drop, WHITE);
    		LCD_Fill(80 + xoffset, 20 + drop, 140 + xoffset, 40 + drop, WHITE);
    	}

    	else if(last% 4 == 1)
    	{
    		LCD_Fill(80 + xoffset, 0 + drop, 100 + xoffset, 60 + drop, WHITE);
    		LCD_Fill(100 + xoffset, 20 + drop, 120 + xoffset, 40 + drop, WHITE);
    	}
    	else if(last% 4 == 2){
    		LCD_Fill(80 + xoffset, 0 + drop, 140 + xoffset, 20 + drop, WHITE);
    		LCD_Fill(100 + xoffset, 20 + drop, 120 + xoffset, 40 + drop, WHITE);
    	}
    	else{
    		LCD_Fill(80 + xoffset, 20 + drop, 100 + xoffset, 40 + drop, WHITE);
    		LCD_Fill(100 + xoffset, 0 + drop, 120 + xoffset, 60 + drop, WHITE);
    	}

    	if (judge(x1,y1,x2,y2) == 0 || judge(x3,y3,x4,y4) == 0 ) {
    		rotation -= 1;
    	}
    }

    // last state
    if (rotation % 4 == 0)
   {
	   x1 = 100 + xoffset;
	   y1 = 0 + drop;
	   x2 = 120 + xoffset;
	   y2 = 20 + drop;
	   x3 = 80 + xoffset;
	   y3 = 20 + drop;
	   x4 = 140 + xoffset;
	   y4 = 40 + drop;
   }
   else if (rotation % 4 == 1)
   {

	   x1 = 80 + xoffset;
	   y1 = 0 + drop;
	   x2 = 100 + xoffset;
	   y2 = 60 + drop;
	   x3 = 100 + xoffset;
	   y3 = 20 + drop;
	   x4 = 120 + xoffset;
	   y4 = 40 + drop;
   }
   else if (rotation % 4 == 2)
   {

	   x1 = 80 + xoffset;
	   y1 = 0 + drop;
	   x2 = 140 + xoffset;
	   y2 = 20 + drop;
	   x3 = 100 + xoffset;
	   y3 = 20 + drop;
	   x4 = 120 + xoffset;
	   y4 = 40 + drop;
   }
   else if (rotation % 4 == 3)
   {
	   x1 = 80 + xoffset;
	   y1 = 20 + drop;
	   x2 = 100 + xoffset;
	   y2 = 40 + drop;
	   x3 = 100 + xoffset;
	   y3 = 0 + drop;
	   x4 = 120 + xoffset;
	   y4 = 60 + drop;
   }

	// draw the block
	if (if_bottom == 0) {
		if ( lor == -1 && judge(x1,y1,x2,y2) == 1 && judge(x3,y3,x4,y4) == 1 ) {
			LCD_Fill(x1+20, y1, x2+20, y2, WHITE);
			LCD_Fill(x3+20, y3, x4+20, y4, WHITE);
		} else
		if (lor == 1 && judge(x1,y1,x2,y2) == 1 && judge(x3,y3,x4,y4) == 1) {
			LCD_Fill(x1-20, y1, x2-20, y2, WHITE);
			LCD_Fill(x3-20, y3, x4-20, y4, WHITE);
		}else if (lor == 0) {
			LCD_Fill(x1, y1-speed, x2, y2-speed, WHITE);
			LCD_Fill(x3, y3-speed, x4, y4-speed, WHITE);
		}

		LCD_Fill(x1, y1, x2, y2, LIGHTBLUE);
		LCD_Fill(x3, y3, x4, y4, LIGHTBLUE);
	}
}

void fill_record(int x_1, int y_1, int x_2, int y_2, int color)
{
    int x1 = x_1 / 20;
    int x2 = x_2 / 20;
    int y1 = y_1 / 20;
    int y2 = y_2 / 20;

    if (x2 == x1 + 1)
    {
        int i = 0;
        for (i = y1; i < y2; i++)
        {
            arrays[i][x1] = color;
        }
    }
    else if (y2 == y1 + 1)
    {
        int i = 0;
        for (i = x1; i < x2; i++)
        {
            arrays[y1][i] = color;
        }
    }
    else if (x2 >= x1 + 2 && y2 >= y1 + 2)
    {
        int i = 0;
        int j = 0;

        for (i = x1; i < x2; i++)
        {
            for (j = y1; j < y2; j++)
            {
                arrays[j][i] = color;
            }
        }
    }
}

/* USER CODE END 4 */

void Error_Handler(void)
{
}

/************************ (C) COPYRIGHT STMicroelectronics *****END OF FILE****/
